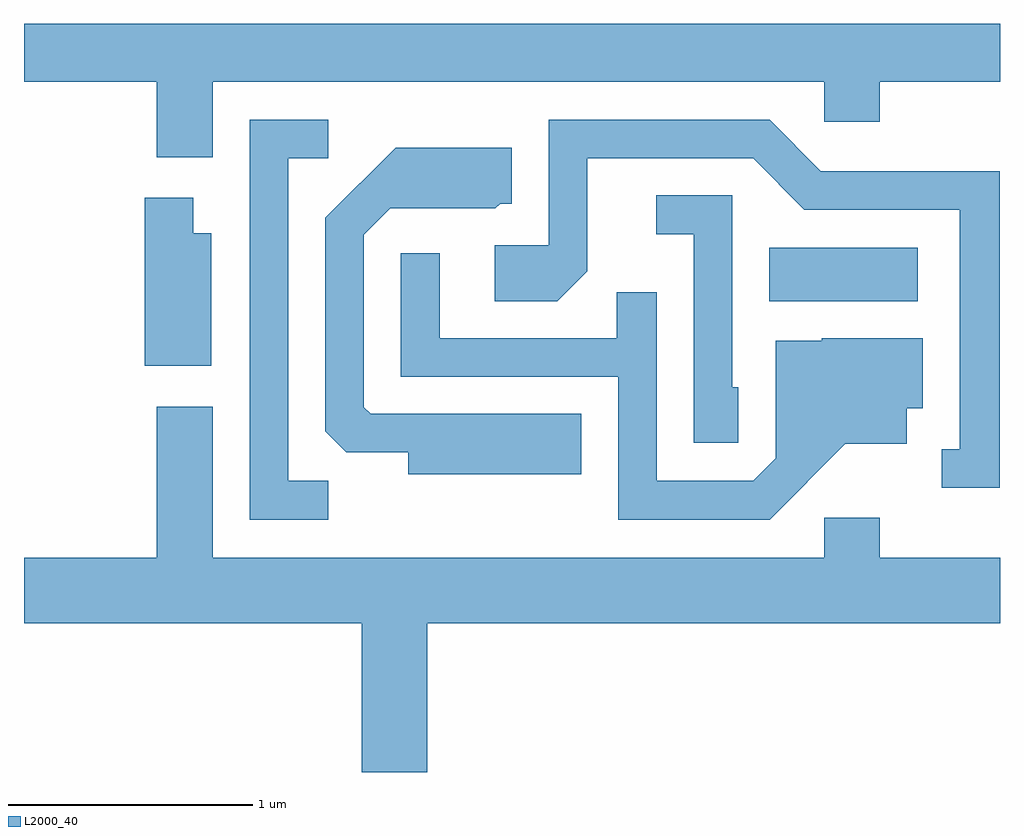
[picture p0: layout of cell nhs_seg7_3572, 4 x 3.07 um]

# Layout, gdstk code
import gdstk
lib = gdstk.Library(unit=1e-6, precision=1e-09)
def R(c, l, rs):  # rectangles x0, y0, x1, y1
    for r in rs: c.add(gdstk.rectangle(r[:2], r[2:], *l))
def P(c, l, *ps):  # polygons
    for p in ps: c.add(gdstk.Polygon(p, *l))
L2000_40 = (2000, 40)

nhs_seg7_3572 = lib.new_cell('nhs_seg7_3572')
R(nhs_seg7_3572, L2000_40, [(296.666,1791.116,297.274,1791.334)])
P(nhs_seg7_3572, L2000_40, [(293.611,1792.016),(294.156,1792.016),(294.156,1791.706),(294.384,1791.706),(294.384,1792.016),(296.891,1792.016),(296.891,1791.851),(297.119,1791.851),(297.119,1792.016),(297.611,1792.016),(297.611,1792.252),(293.611,1792.252)],
  [(297.609,1791.649),(296.877,1791.649),(296.667,1791.859),(295.761,1791.859),(295.761,1791.344),(295.541,1791.344),(295.541,1791.116),(295.797,1791.116),(295.919,1791.239),(295.919,1791.701),(296.599,1791.701),(296.809,1791.491),(297.446,1791.491),(297.446,1790.509),(297.373,1790.509),(297.373,1790.351),(297.609,1790.351)],
  [(294.858,1790.379),(294.694,1790.379),(294.694,1791.701),(294.858,1791.701),(294.858,1791.859),(294.536,1791.859),(294.536,1790.221),(294.858,1790.221)],
  [(295.894,1790.654),(295.032,1790.654),(295.004,1790.682),(295.004,1791.389),(295.112,1791.496),(295.542,1791.496),(295.562,1791.516),(295.609,1791.516),(295.609,1791.744),(295.134,1791.744),(294.846,1791.457),(294.846,1790.582),(294.932,1790.496),(295.186,1790.496),(295.186,1790.406),(295.894,1790.406)],
  [(296.539,1790.764),(296.514,1790.764),(296.514,1791.549),(296.203,1791.549),(296.203,1791.391),(296.356,1791.391),(296.356,1790.536),(296.539,1790.536)],
  [(294.379,1791.394),(294.304,1791.394),(294.304,1791.539),(294.106,1791.539),(294.106,1790.851),(294.379,1790.851)],
  [(296.977,1790.531),(297.229,1790.531),(297.229,1790.676),(297.294,1790.676),(297.294,1790.964),(296.88,1790.964),(296.88,1790.954),(296.691,1790.954),(296.691,1790.472),(296.599,1790.379),(296.204,1790.379),(296.204,1791.153),(296.041,1791.153),(296.041,1790.964),(295.314,1790.964),(295.314,1791.313),(295.156,1791.313),(295.156,1790.806),(296.046,1790.806),(296.046,1790.221),(296.667,1790.221)],
  [(295.264,1789.796),(297.611,1789.796),(297.611,1790.064),(297.119,1790.064),(297.119,1790.229),(296.891,1790.229),(296.891,1790.064),(294.384,1790.064),(294.384,1790.684),(294.156,1790.684),(294.156,1790.064),(293.611,1790.064),(293.611,1789.796),(294.996,1789.796),(294.996,1789.186),(295.264,1789.186)])

lib.write_gds('nhs_seg7_3572.gds')
